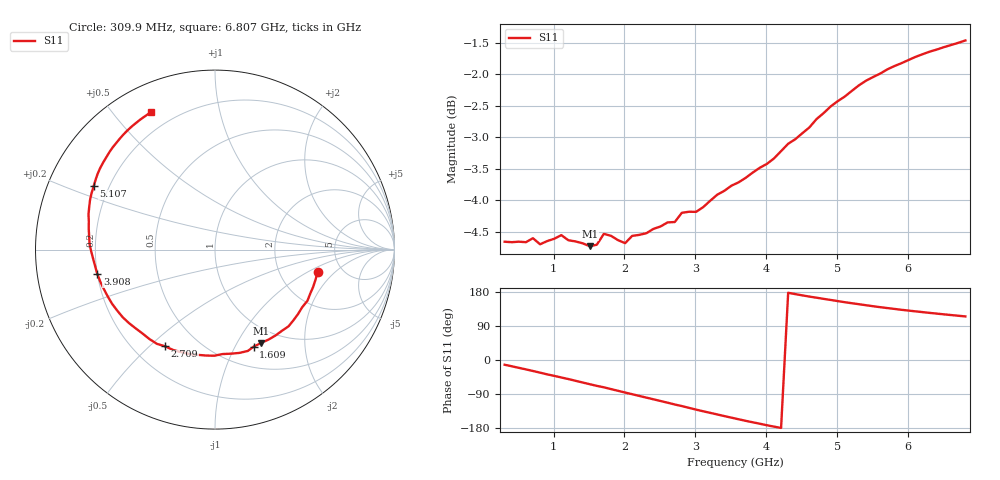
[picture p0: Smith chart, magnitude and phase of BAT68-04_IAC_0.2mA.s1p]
! Infineon Technologies  Discrete & RF Semiconductors
! BAT68-04
! IAC = 0.2 mA
! One-Port S-Parameters
# Hz  S  MA  R  50
!f  S11
!Hz  Mag  Ang
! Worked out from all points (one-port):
!   66 points, 309.9 MHz to 6.807 GHz, reference 50 ohm
!   lowest |S11| = -4.7 dB at 1.509 GHz (marker M1), VSWR 3.76, Z = 40.2 - j63.1 ohm
!   |S11| at or under -10 dB: nowhere
!   S11 on the Smith chart (normalised r, x): 309.9 MHz: 3.29, -1.27; 1.609 GHz: 0.73, -1.19; 2.709 GHz: 0.33, -0.56; 3.908 GHz: 0.20, -0.10; 5.107 GHz: 0.14, +0.24; 6.807 GHz: 0.12, +0.63
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3.0985e8  0.585 -12.5
7.0965e8  0.5887 -29.0
1.10945e9  0.5921 -46.2
1.2094e9  0.5866 -50.3
1.50925e9  0.5803 -63.8
1.6092e9  0.5818 -68.2
1.70915e9  0.5934 -72.0
1.8091e9  0.5914 -76.7
2.009e9  0.5835 -85.9
2.10895e9  0.5913 -90.3
2.4088e9  0.5989 -103.7
2.6087e9  0.606 -112.7
2.70865e9  0.6064 -117.4
2.8086e9  0.6167 -121.6
3.10845e9  0.623 -135.3
3.30835e9  0.6374 -143.7
3.6082e9  0.652 -156.4
3.90805e9  0.6695 -168.2
4.2079e9  0.6902 -179.3
4.4078e9  0.7053 173.9
4.70765e9  0.7318 164.4
4.90755e9  0.7489 158.5
5.10745e9  0.7626 152.5
5.2074e9  0.7706 149.7
5.6072e9  0.7952 139.4
6.007e9  0.8152 130.4
6.30685e9  0.8277 124.2
6.8066e9  0.8447 115.0
